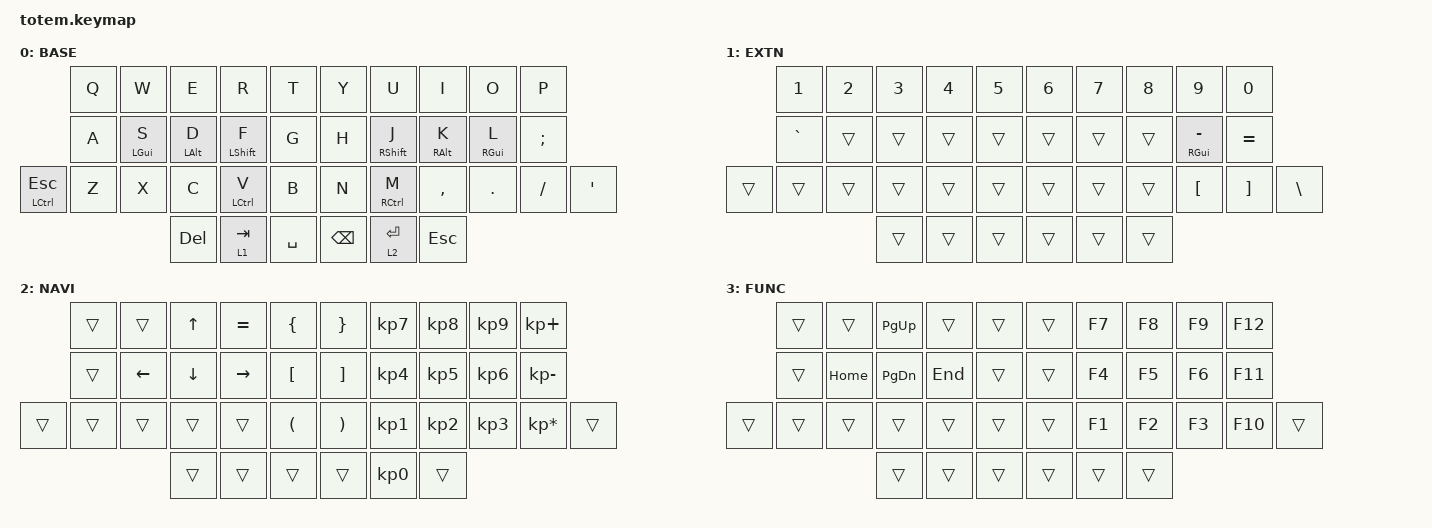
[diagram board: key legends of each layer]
//
//                                                        ▀▀▀▀▀     ▀▀▀▀▀          ▀▀█▀▀
//                                                        ▄▀▀▀▄  ▄  ▄▀▀▀▄  ▄  ▄▀▀▀▄  █  ▄▀▀▀▄
//                                                        █   █  █  █   █  █  █   █  █  █   █
//                                                         ▀▀▀   █   ▀▀▀   █   ▀▀▀   ▀   ▀▀▀
//                                                               █      ▄▄▄█▄▄▄    █   █  
//                                                               ▀      █  █  █     █▄█
//                                                             ▀▀▀▀▀    █  █  █      ▀
//                                                                      ▀  ▀  ▀
//
// ▄▄▄▄▄▄▄▄▄▄▄▄▄▄▄▄▄▄▄▄▄▄▄▄▄▄▄▄▄▄▄▄▄▄▄▄▄▄▄▄▄▄▄▄▄▄▄▄▄▄▄▄▄▄▄▄▄▄▄▄▄▄▄▄▄▄▄▄▄▄▄▄▄▄▄▄▄▄▄▄▄▄▄▄▄▄▄▄▄▄▄▄▄▄▄▄▄▄▄▄▄▄▄▄▄▄▄▄▄▄▄▄▄▄▄▄▄▄▄▄▄▄▄▄▄▄▄▄▄▄▄▄▄▄▄▄▄▄▄▄▄▄▄▄▄▄▄▄▄

#include <behaviors.dtsi>
#include <dt-bindings/zmk/keys.h>

#define BASE 0
#define NAV  1
#define SYM  2
#define ADJ  3

&mt {
    quick-tap-ms = <100>;
    global-quick-tap;
    flavor = "tap-preferred";
    tapping-term-ms = <170>;
};

/ {
    combos {
        compatible = "zmk,combos";

        func_layer_combo {
            bindings = <&mo 3>;
            key-positions = <33 36>;
        };
    };

    keymap {
        compatible = "zmk,keymap";

        // ▄▄▄▄▄▄▄▄▄▄▄▄▄▄▄▄▄▄▄▄▄▄▄▄▄▄▄▄▄▄▄▄▄▄▄▄▄▄▄▄▄▄▄▄▄▄▄▄▄▄▄▄▄▄▄▄▄▄▄▄▄▄▄▄▄▄▄▄▄▄▄▄▄▄▄▄▄▄▄▄▄▄▄▄▄▄▄▄▄▄▄▄▄▄▄▄▄▄▄▄▄▄▄▄▄▄▄▄▄▄▄▄▄▄▄▄▄▄▄▄▄▄▄▄▄▄▄▄▄▄▄▄▄▄▄▄▄▄▄▄▄▄▄▄▄▄▄▄▄

        base_layer {
            // ┏━━━━━━━━━━━━━━━━━━━━━━━━━━━━━━━━━━━━━━━┓

            label = "BASE";

            // ┗━━━━━━━━━━━━━━━━━━━━━━━━━━━━━━━━━━━━━━━┛
            //             ┏━━━━━━━━━━━┳━━━━━━━━━━━┳━━━━━━━━━━━┳━━━━━━━━━━━┳━━━━━━━━━━━┓   ┏━━━━━━━━━━━┳━━━━━━━━━━━┳━━━━━━━━━━━┳━━━━━━━━━━━┳━━━━━━━━━━━┓
            //             ┃     Q     ┃     W     ┃     E     ┃     R     ┃     T     ┃   ┃     Y     ┃     U     ┃     I     ┃     O     ┃     P     ┃
            //             ┣━━━━━━━━━━━╋━━━━━━━━━━━╋━━━━━━━━━━━╋━━━━━━━━━━━╋━━━━━━━━━━━┫   ┣━━━━━━━━━━━╋━━━━━━━━━━━╋━━━━━━━━━━━╋━━━━━━━━━━━╋━━━━━━━━━━━┫
            //             ┃     A     ┃     S     ┃     D     ┃     F     ┃     G     ┃   ┃     H     ┃     J     ┃     K     ┃     L     ┃     ;     ┃
            // ┏━━━━━━━━━━━╋━━━━━━━━━━━╋━━━━━━━━━━━╋━━━━━━━━━━━╋━━━━━━━━━━━╋━━━━━━━━━━━┫   ┣━━━━━━━━━━━╋━━━━━━━━━━━╋━━━━━━━━━━━╋━━━━━━━━━━━╋━━━━━━━━━━━╋━━━━━━━━━━━┓
            // ┃     Q     ┃     Z     ┃     X     ┃     C     ┃     V     ┃     B     ┃   ┃     N     ┃     M     ┃     ,     ┃     .     ┃     /     ┃     \     ┃
            // ┗━━━━━━━━━━━┻━━━━━━━━━━━┻━━━━━━━━━━━╋━━━━━━━━━━━╋━━━━━━━━━━━╋━━━━━━━━━━━┫   ┣━━━━━━━━━━━╋━━━━━━━━━━━╋━━━━━━━━━━━╋━━━━━━━━━━━┻━━━━━━━━━━━┻━━━━━━━━━━━┛
            //                                     ┃    DEL    ┃    TAB    ┃    SPC    ┃   ┃   ENTER   ┃           ┃   BSPC    ┃
            //                                     ┗━━━━━━━━━━━┻━━━━━━━━━━━┻━━━━━━━━━━━┛   ┗━━━━━━━━━━━┻━━━━━━━━━━━┻━━━━━━━━━━━┛

            bindings = <
                  &kp Q  &kp W           &kp E           &kp R        &kp T        &kp Y          &kp U        &kp I            &kp O            &kp P
                  &kp A  &mt LEFT_GUI S  &mt LEFT_ALT D  &mt LSHFT F  &kp G        &kp H          &mt RSHFT J  &mt RIGHT_ALT K  &mt RIGHT_GUI L  &kp SEMI
&mt LCTRL ESCAPE  &kp Z  &kp X           &kp C           &mt LCTRL V  &kp B        &kp N          &mt RCTRL M  &kp COMMA        &kp DOT          &kp FSLH  &kp SINGLE_QUOTE
                                         &kp DEL         &lt 1 TAB    &kp SPACE    &kp BACKSPACE  &lt 2 ENTER  &kp ESCAPE
            >;
        };

        extension_layer {
            bindings = <
        &kp NUMBER_1  &kp NUMBER_2  &kp NUMBER_3  &kp NUMBER_4  &kp N5    &kp NUMBER_6  &kp N7  &kp N8  &kp N9               &kp N0
        &kp GRAVE     &trans        &trans        &trans        &trans    &trans        &trans  &trans  &mt RIGHT_GUI MINUS  &kp EQUAL
&trans  &trans        &trans        &trans        &trans        &trans    &trans        &trans  &trans  &kp LEFT_BRACKET     &kp RIGHT_BRACKET  &kp BACKSLASH
                                    &trans        &trans        &trans    &trans        &trans  &trans
            >;

            label = "EXTN";
        };

        nav_layer {
            // ┏━━━━━━━━━━━━━━━━━━━━━━━━━━━━━━━━━━━━━━━┓

            label = "NAVI";

            // ┗━━━━━━━━━━━━━━━━━━━━━━━━━━━━━━━━━━━━━━━┛
            //             ┏━━━━━━━━━━━┳━━━━━━━━━━━┳━━━━━━━━━━━┳━━━━━━━━━━━┳━━━━━━━━━━━┓   ┏━━━━━━━━━━━┳━━━━━━━━━━━┳━━━━━━━━━━━┳━━━━━━━━━━━┳━━━━━━━━━━━┓
            //             ┃           ┃           ┃     UP    ┃           ┃     {     ┃   ┃     }     ┃     7     ┃     8     ┃     9     ┃     +     ┃
            //             ┣━━━━━━━━━━━╋━━━━━━━━━━━╋━━━━━━━━━━━╋━━━━━━━━━━━╋━━━━━━━━━━━┫   ┣━━━━━━━━━━━╋━━━━━━━━━━━╋━━━━━━━━━━━╋━━━━━━━━━━━╋━━━━━━━━━━━┫
            //             ┃   SHIFT   ┃   LEFT    ┃    DOWN   ┃   RIGHT   ┃     [     ┃   ┃     ]     ┃     4     ┃     5     ┃     6     ┃     -     ┃
            // ┏━━━━━━━━━━━╋━━━━━━━━━━━╋━━━━━━━━━━━╋━━━━━━━━━━━╋━━━━━━━━━━━╋━━━━━━━━━━━┫   ┣━━━━━━━━━━━╋━━━━━━━━━━━╋━━━━━━━━━━━╋━━━━━━━━━━━╋━━━━━━━━━━━╋━━━━━━━━━━━┓
            // ┃           ┃           ┃   P UP    ┃  C LOCK   ┃  P DOWN   ┃     (     ┃   ┃     )     ┃     1     ┃     2     ┃     3     ┃     *     ┃           ┃
            // ┗━━━━━━━━━━━┻━━━━━━━━━━━┻━━━━━━━━━━━╋━━━━━━━━━━━╋━━━━━━━━━━━╋━━━━━━━━━━━┫   ┣━━━━━━━━━━━╋━━━━━━━━━━━╋━━━━━━━━━━━╋━━━━━━━━━━━┻━━━━━━━━━━━┻━━━━━━━━━━━┛
            //                                     ┃           ┃    TAB    ┃    SPC    ┃   ┃    DEL    ┃     0     ┃           ┃
            //                                     ┗━━━━━━━━━━━┻━━━━━━━━━━━┻━━━━━━━━━━━┛   ┗━━━━━━━━━━━┻━━━━━━━━━━━┻━━━━━━━━━━━┛

            bindings = <
        &trans  &trans    &kp UP    &kp EQUAL  &kp LBRC    &kp RBRC  &kp KP_N7  &kp KP_N8  &kp KP_N9  &kp KP_PLUS
        &trans  &kp LEFT  &kp DOWN  &kp RIGHT  &kp LBKT    &kp RBKT  &kp KP_N4  &kp KP_N5  &kp KP_N6  &kp KP_MINUS
&trans  &trans  &trans    &trans    &trans     &kp LPAR    &kp RPAR  &kp KP_N1  &kp KP_N2  &kp KP_N3  &kp KP_MULTIPLY  &trans
                          &trans    &trans     &trans      &trans    &kp KP_N0  &trans
            >;
        };

        function_layer {
            // ┏━━━━━━━━━━━━━━━━━━━━━━━━━━━━━━━━━━━━━━━┓

            label = "FUNC";

            // ┗━━━━━━━━━━━━━━━━━━━━━━━━━━━━━━━━━━━━━━━┛
            //             ┏━━━━━━━━━━━┳━━━━━━━━━━━┳━━━━━━━━━━━┳━━━━━━━━━━━┳━━━━━━━━━━━┓   ┏━━━━━━━━━━━┳━━━━━━━━━━━┳━━━━━━━━━━━┳━━━━━━━━━━━┳━━━━━━━━━━━┓
            //             ┃   RESET   ┃ BT CLEAR  ┃  OUT TOG  ┃           ┃           ┃   ┃           ┃    F7     ┃    F8     ┃    F9     ┃    F12    ┃
            //             ┣━━━━━━━━━━━╋━━━━━━━━━━━╋━━━━━━━━━━━╋━━━━━━━━━━━╋━━━━━━━━━━━┫   ┣━━━━━━━━━━━╋━━━━━━━━━━━╋━━━━━━━━━━━╋━━━━━━━━━━━╋━━━━━━━━━━━┫
            //             ┃ BOOTLOAD  ┃ BT NEXT   ┃           ┃           ┃           ┃   ┃           ┃    F4     ┃    F5     ┃    F6     ┃    F11    ┃
            // ┏━━━━━━━━━━━╋━━━━━━━━━━━╋━━━━━━━━━━━╋━━━━━━━━━━━╋━━━━━━━━━━━╋━━━━━━━━━━━┫   ┣━━━━━━━━━━━╋━━━━━━━━━━━╋━━━━━━━━━━━╋━━━━━━━━━━━╋━━━━━━━━━━━╋━━━━━━━━━━━┓
            // ┃           ┃           ┃ BT PREV   ┃           ┃           ┃           ┃   ┃           ┃    F1     ┃    F2     ┃    F3     ┃    F10    ┃           ┃
            // ┗━━━━━━━━━━━┻━━━━━━━━━━━┻━━━━━━━━━━━╋━━━━━━━━━━━╋━━━━━━━━━━━╋━━━━━━━━━━━┫   ┣━━━━━━━━━━━╋━━━━━━━━━━━╋━━━━━━━━━━━╋━━━━━━━━━━━┻━━━━━━━━━━━┻━━━━━━━━━━━┛
            //                                     ┃           ┃           ┃           ┃   ┃           ┃           ┃           ┃
            //                                     ┗━━━━━━━━━━━┻━━━━━━━━━━━┻━━━━━━━━━━━┛   ┗━━━━━━━━━━━┻━━━━━━━━━━━┻━━━━━━━━━━━┛

            bindings = <
        &trans  &trans    &kp PAGE_UP    &trans   &trans    &trans  &kp F7  &kp F8  &kp F9  &kp F12
        &trans  &kp HOME  &kp PAGE_DOWN  &kp END  &trans    &trans  &kp F4  &kp F5  &kp F6  &kp F11
&trans  &trans  &trans    &trans         &trans   &trans    &trans  &kp F1  &kp F2  &kp F3  &kp F10  &trans
                          &trans         &trans   &trans    &trans  &trans  &trans
            >;
        };
    };
};
